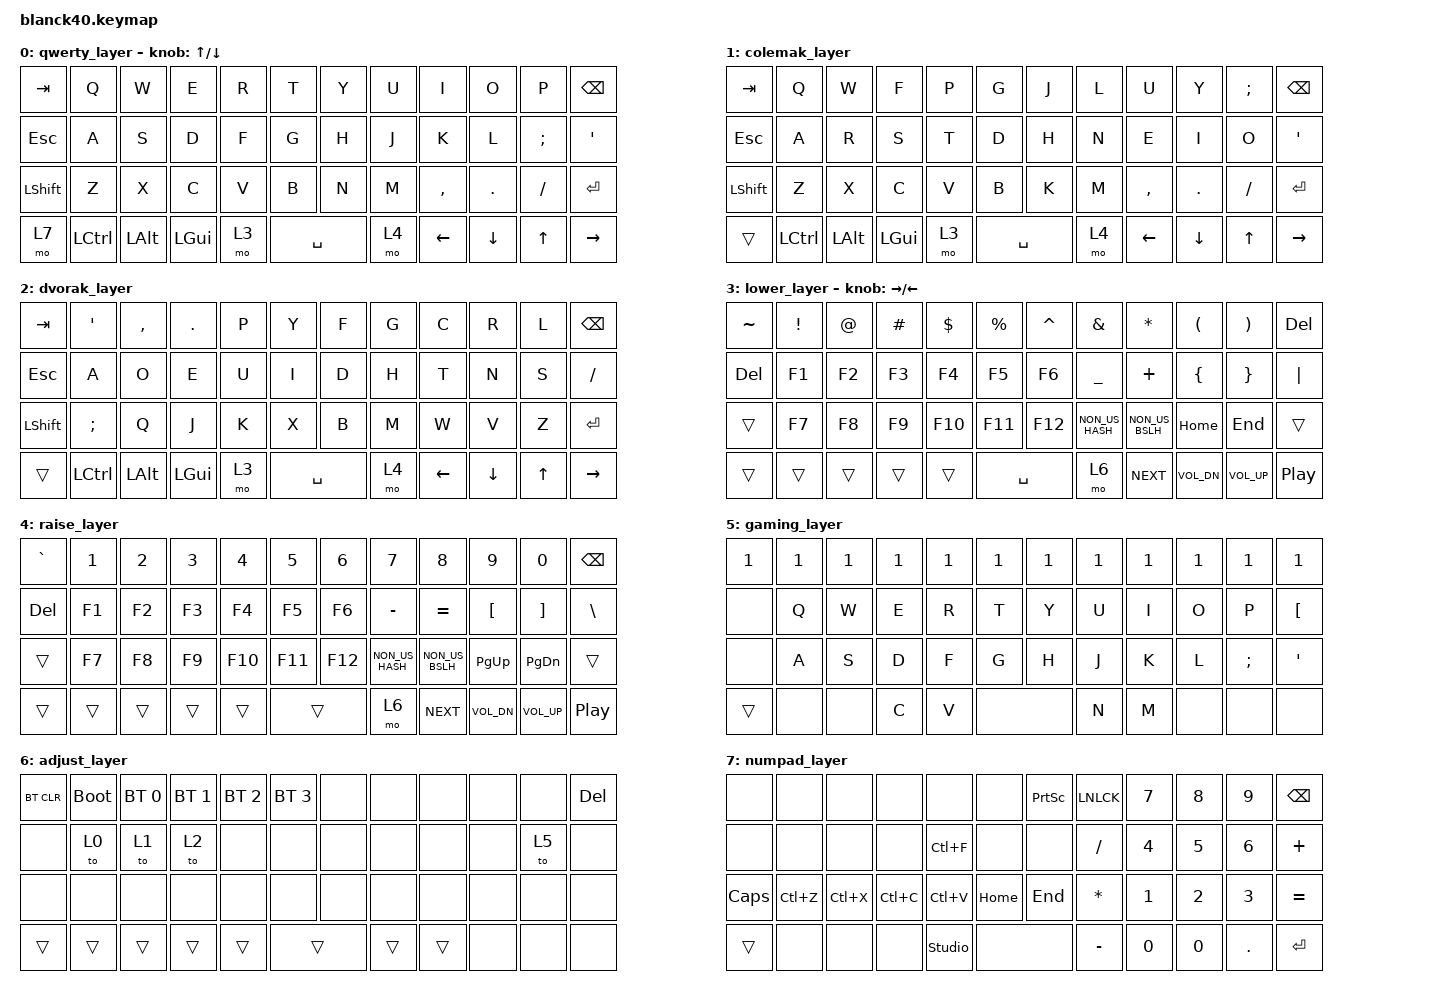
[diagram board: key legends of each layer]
#include <behaviors.dtsi>
#include <dt-bindings/zmk/keys.h>
#include <dt-bindings/zmk/bt.h>
#include <dt-bindings/zmk/ext_power.h>
#include <dt-bindings/zmk/rgb.h> // Added for underglow support

/ {
    keymap {
        compatible = "zmk,keymap";
        
        qwerty_layer {
            bindings = <
    &kp TAB   &kp Q     &kp W     &kp E     &kp R     &kp T     &kp Y     &kp U     &kp I     &kp O     &kp P     &kp BSPC
    &kp ESC   &kp A     &kp S     &kp D     &kp F     &kp G     &kp H     &kp J     &kp K     &kp L     &kp SEMI  &kp SQT
    &kp LSHFT &kp Z     &kp X     &kp C     &kp V     &kp B     &kp N     &kp M     &kp COMMA &kp DOT   &kp SLASH &kp ENTER
    &mo 7     &kp LCTRL &kp LALT  &kp LGUI  &mo 3     &kp SPACE           &mo 4     &kp LEFT  &kp DOWN  &kp UP    &kp RIGHT
            >;
            sensor-bindings = <&inc_dec_kp UP DOWN>;
        };

        colemak_layer {
            bindings = <
    &kp TAB   &kp Q     &kp W     &kp F     &kp P     &kp G     &kp J     &kp L     &kp U     &kp Y     &kp SEMI  &kp BSPC
    &kp ESC   &kp A     &kp R     &kp S     &kp T     &kp D     &kp H     &kp N     &kp E     &kp I     &kp O     &kp SQT
    &kp LSHFT &kp Z     &kp X     &kp C     &kp V     &kp B     &kp K     &kp M     &kp COMMA &kp DOT   &kp SLASH &kp ENTER
    &trans    &kp LCTRL &kp LALT  &kp LGUI  &mo 3     &kp SPACE           &mo 4     &kp LEFT  &kp DOWN  &kp UP    &kp RIGHT
            >;
        };

        dvorak_layer {
            bindings = <
    &kp TAB   &kp SQT   &kp COMMA &kp DOT   &kp P     &kp Y     &kp F     &kp G     &kp C     &kp R     &kp L     &kp BSPC
    &kp ESC   &kp A     &kp O     &kp E     &kp U     &kp I     &kp D     &kp H     &kp T     &kp N     &kp S     &kp SLASH
    &kp LSHFT &kp SEMI  &kp Q     &kp J     &kp K     &kp X     &kp B     &kp M     &kp W     &kp V     &kp Z     &kp ENTER
    &trans    &kp LCTRL &kp LALT  &kp LGUI  &mo 3     &kp SPACE           &mo 4     &kp LEFT  &kp DOWN  &kp UP    &kp RIGHT
            >;
        };

        lower_layer {
            bindings = <
    &kp TILDE &kp EXCL  &kp AT    &kp HASH  &kp DLLR  &kp PRCNT &kp CARET &kp AMPS  &kp ASTRK &kp LPAR  &kp RPAR  &kp DEL
    &kp DEL   &kp F1    &kp F2    &kp F3    &kp F4    &kp F5    &kp F6    &kp UNDER &kp PLUS  &kp LBRC  &kp RBRC  &kp PIPE
    &trans    &kp F7    &kp F8    &kp F9    &kp F10   &kp F11   &kp F12   &kp NON_US_HASH &kp NON_US_BSLH &kp HOME &kp END &trans
    &trans    &trans    &trans    &trans    &trans    &kp SPACE           &mo 6     &kp C_NEXT &kp C_VOL_DN &kp C_VOL_UP &kp C_PP
            >;
            sensor-bindings = <&inc_dec_kp RIGHT LEFT>;
        };

        raise_layer {
            bindings = <
    &kp GRAVE &kp N1    &kp N2    &kp N3    &kp N4    &kp N5    &kp N6    &kp N7    &kp N8    &kp N9    &kp N0    &kp BSPC
    &kp DEL   &kp F1    &kp F2    &kp F3    &kp F4    &kp F5    &kp F6    &kp MINUS &kp EQUAL &kp LBKT  &kp RBKT  &kp BSLH
    &trans    &kp F7    &kp F8    &kp F9    &kp F10   &kp F11   &kp F12   &kp NON_US_HASH &kp NON_US_BSLH &kp PG_UP &kp PG_DN &trans
    &trans    &trans    &trans    &trans    &trans    &trans              &mo 6     &kp C_NEXT &kp C_VOL_DN &kp C_VOL_UP &kp C_PP
            >;
        };

        gaming_layer {
            bindings = <
    &kp N1    &kp N1    &kp N1    &kp N1    &kp N1    &kp N1    &kp N1    &kp N1    &kp N1    &kp N1    &kp N1    &kp N1
    &none     &kp Q     &kp W     &kp E     &kp R     &kp T     &kp Y     &kp U     &kp I     &kp O     &kp P     &kp LBKT
    &none     &kp A     &kp S     &kp D     &kp F     &kp G     &kp H     &kp J     &kp K     &kp L     &kp SEMI  &kp SQT
    &trans    &none     &none     &kp C     &kp V     &none     &kp N     &kp M     &none     &none     &none
            >;
        };

        adjust_layer {
            bindings = <
    &bt BT_CLR  &bootloader  &bt BT_SEL 0  &bt BT_SEL 1    &bt BT_SEL 2    &bt BT_SEL 3    &none           &none           &none           &none           &none           &kp DEL
    &none        &to 0        &to 1         &to 2           &none           &none           &none           &none           &none           &none           &to 5           &none
    &none        &none        &none         &none           &none           &none           &none           &none           &none           &none           &none           &none
    &trans       &trans       &trans        &trans          &trans          &trans                          &trans          &trans          &none           &none           &none
            >;
        }; 

        numpad_layer {
            bindings = <  
    &none     &none     &none     &none     &none     &none     &kp PSCRN &kp LNLCK         &kp N7   &kp N8   &kp N9   &kp BSPC
    &none     &none     &none     &none     &kp LC(F) &none     &none     &kp SLASH         &kp N4   &kp N5   &kp N6   &kp PLUS
    &kp CLCK  &kp LC(Z) &kp LC(X) &kp LC(C) &kp LC(V) &kp HOME &kp END     &kp ASTERISK      &kp N1   &kp N2   &kp N3   &kp EQUAL
    &trans    &none     &none     &none     &studio_unlock     &none      &kp MINUS         &kp N0   &kp N0   &kp DOT  &kp ENTER
            >;
        };
    };
};
